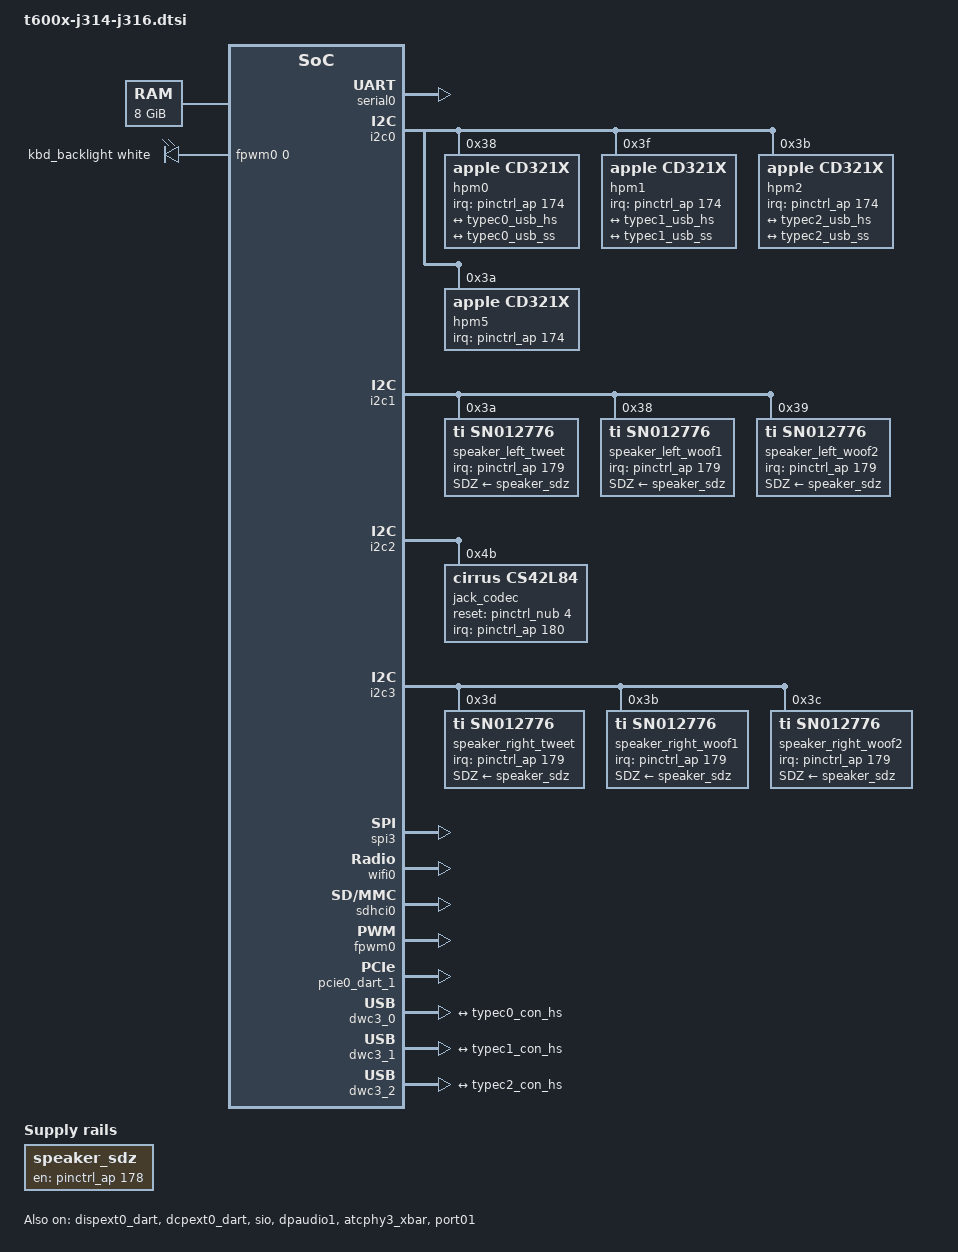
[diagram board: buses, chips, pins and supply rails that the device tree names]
// SPDX-License-Identifier: GPL-2.0+ OR MIT
/*
 * MacBook Pro (14/16-inch, 2021)
 *
 * This file contains the parts common to J314 and J316 devices with both t6000 and t6001.
 *
 * target-type: J314s / J314c / J316s / J316c
 *
 * Copyright The Asahi Linux Contributors
 */

#include <dt-bindings/leds/common.h>

/ {
	aliases {
		atcphy0 = &atcphy0;
		atcphy1 = &atcphy1;
		atcphy2 = &atcphy2;
		atcphy3 = &atcphy3;
		bluetooth0 = &bluetooth0;
		dcp = &dcp;
		dcpext0 = &dcpext0;
		disp0 = &display;
		disp0_piodma = &disp0_piodma;
		nvram = &nvram;
		serial0 = &serial0;
		sio = &sio;
		wifi0 = &wifi0;
	};

	chosen {
		#address-cells = <2>;
		#size-cells = <2>;
		ranges;

		stdout-path = "serial0";

		framebuffer0: framebuffer@0 {
			compatible = "apple,simple-framebuffer", "simple-framebuffer";
			reg = <0 0 0 0>; /* To be filled by loader */
			/* Format properties will be added by loader */
			status = "disabled";
			power-domains = <&ps_disp0_cpu0>;
			panel = &panel;
		};
	};

	reserved-memory {
		#address-cells = <2>;
		#size-cells = <2>;
		ranges;
		/* To be filled by loader */
	};

	memory@10000000000 {
		device_type = "memory";
		reg = <0x100 0 0x2 0>; /* To be filled by loader */
	};

	led-controller {
		compatible = "pwm-leds";
		led-0 {
			pwms = <&fpwm0 0 40000>;
			label = "kbd_backlight";
			function = LED_FUNCTION_KBD_BACKLIGHT;
			color = <LED_COLOR_ID_WHITE>;
			max-brightness = <255>;
			default-state = "keep";
		};
	};
};

&serial0 {
	status = "okay";
};

&dcp {
	panel: panel {
		apple,max-brightness = <500>;
	};
};

&display {
	iommus = <&disp0_dart 0>, <&dispext0_dart 0>;
};

&dispext0_dart {
	status = "okay";
};

&dcpext0_dart {
	status = "okay";
};

&dcpext0_mbox {
	status = "okay";
};

&dcpext0 {
	/* enabled by the loader */
	apple,connector-type = "HDMI-A";

	/*  HDMI HPD gpio, used as interrupt*/
	hdmi-hpd-gpios = <&pinctrl_nub 15 GPIO_ACTIVE_HIGH>;

	hdmi-pwren-gpios = <&smc_gpio 23 GPIO_ACTIVE_HIGH>;
	dp2hdmi-pwren-gpios = <&smc_gpio 6 GPIO_ACTIVE_HIGH>;

	phy-names = "dp-phy";
	phys = <&atcphy3 PHY_TYPE_DP>;
	phy-names = "dp-phy";
	mux-controls = <&atcphy3_xbar 0>;
	mux-control-names = "dp-xbar";
	mux-index = <0>;
	apple,dptx-phy = <3>;
};

/* remove once m1n1 enables sio nodes after setup */
&sio {
        status = "okay";
};

&dpaudio1 {
	status = "okay";
};

&atcphy3 {
	apple,mode-fixed-dp;
};

&atcphy3_xbar {
	status = "okay";
};

/* USB Type C */
&i2c0 {
	hpm0: usb-pd@38 {
		compatible = "apple,cd321x";
		reg = <0x38>;
		interrupt-parent = <&pinctrl_ap>;
		interrupts = <174 IRQ_TYPE_LEVEL_LOW>;
		interrupt-names = "irq";

		typec0: connector {
			compatible = "usb-c-connector";
			label = "USB-C Left Rear";
			power-role = "dual";
			data-role = "dual";

			ports {
				#address-cells = <1>;
				#size-cells = <0>;
				port@0 {
					reg = <0>;
					typec0_con_hs: endpoint {
						remote-endpoint = <&typec0_usb_hs>;
					};
				};
				port@1 {
					reg = <1>;
					typec0_con_ss: endpoint {
						remote-endpoint = <&typec0_usb_ss>;
					};
				};
			};
		};
	};

	hpm1: usb-pd@3f {
		compatible = "apple,cd321x";
		reg = <0x3f>;
		interrupt-parent = <&pinctrl_ap>;
		interrupts = <174 IRQ_TYPE_LEVEL_LOW>;
		interrupt-names = "irq";

		typec1: connector {
			compatible = "usb-c-connector";
			label = "USB-C Left Front";
			power-role = "dual";
			data-role = "dual";

			ports {
				#address-cells = <1>;
				#size-cells = <0>;
				port@0 {
					reg = <0>;
					typec1_con_hs: endpoint {
						remote-endpoint = <&typec1_usb_hs>;
					};
				};
				port@1 {
					reg = <1>;
					typec1_con_ss: endpoint {
						remote-endpoint = <&typec1_usb_ss>;
					};
				};
			};
		};
	};

	hpm2: usb-pd@3b {
		compatible = "apple,cd321x";
		reg = <0x3b>;
		interrupt-parent = <&pinctrl_ap>;
		interrupts = <174 IRQ_TYPE_LEVEL_LOW>;
		interrupt-names = "irq";

		typec2: connector {
			compatible = "usb-c-connector";
			label = "USB-C Right";
			power-role = "dual";
			data-role = "dual";

			ports {
				#address-cells = <1>;
				#size-cells = <0>;
				port@0 {
					reg = <0>;
					typec2_con_hs: endpoint {
						remote-endpoint = <&typec2_usb_hs>;
					};
				};
				port@1 {
					reg = <1>;
					typec2_con_ss: endpoint {
						remote-endpoint = <&typec2_usb_ss>;
					};
				};
			};
		};
	};

	/* MagSafe port */
	hpm5: usb-pd@3a {
		compatible = "apple,cd321x";
		reg = <0x3a>;
		interrupt-parent = <&pinctrl_ap>;
		interrupts = <174 IRQ_TYPE_LEVEL_LOW>;
		interrupt-names = "irq";
	};
};

/* Virtual regulator representing the shared shutdown GPIO */
/ {
	speaker_sdz: fixed-regulator-sn012776-sdz {
		compatible = "regulator-fixed";
		regulator-name = "sn012776-sdz";
		startup-delay-us = <5000>;
		gpios = <&pinctrl_ap 178 GPIO_ACTIVE_HIGH>;
		enable-active-high;
	};
};

&i2c1 {
	status = "okay";

	speaker_left_tweet: codec@3a {
		compatible = "ti,sn012776", "ti,tas2764";
		reg = <0x3a>;
		SDZ-supply = <&speaker_sdz>;
		#sound-dai-cells = <0>;
		sound-name-prefix = "Left Tweeter";
		interrupts-extended = <&pinctrl_ap 179 IRQ_TYPE_LEVEL_LOW>;
		ti,imon-slot-no = <8>;
		ti,vmon-slot-no = <10>;
	};

	speaker_left_woof1: codec@38 {
		compatible = "ti,sn012776", "ti,tas2764";
		reg = <0x38>;
		SDZ-supply = <&speaker_sdz>;
		#sound-dai-cells = <0>;
		sound-name-prefix = "Left Woofer 1";
		interrupts-extended = <&pinctrl_ap 179 IRQ_TYPE_LEVEL_LOW>;
		ti,imon-slot-no = <0>;
		ti,vmon-slot-no = <2>;
		ti,sdout-force-zero-mask = <0xf0f0f0>;
	};

	speaker_left_woof2: codec@39 {
		compatible = "ti,sn012776", "ti,tas2764";
		reg = <0x39>;
		SDZ-supply = <&speaker_sdz>;
		#sound-dai-cells = <0>;
		sound-name-prefix = "Left Woofer 2";
		interrupts-extended = <&pinctrl_ap 179 IRQ_TYPE_LEVEL_LOW>;
		ti,imon-slot-no = <16>;
		ti,vmon-slot-no = <18>;
	};
};

&i2c2 {
	status = "okay";

	jack_codec: codec@4b {
		compatible = "cirrus,cs42l84";
		reg = <0x4b>;
		reset-gpios = <&pinctrl_nub 4 GPIO_ACTIVE_HIGH>;
		#sound-dai-cells = <0>;
		interrupts-extended = <&pinctrl_ap 180 IRQ_TYPE_LEVEL_LOW>;
		sound-name-prefix = "Jack";
	};
};

&i2c3 {
	status = "okay";

	speaker_right_tweet: codec@3d {
		compatible = "ti,sn012776", "ti,tas2764";
		reg = <0x3d>;
		SDZ-supply = <&speaker_sdz>;
		#sound-dai-cells = <0>;
		sound-name-prefix = "Right Tweeter";
		interrupts-extended = <&pinctrl_ap 179 IRQ_TYPE_LEVEL_LOW>;
		ti,imon-slot-no = <12>;
		ti,vmon-slot-no = <14>;
	};

	speaker_right_woof1: codec@3b {
		compatible = "ti,sn012776", "ti,tas2764";
		reg = <0x3b>;
		SDZ-supply = <&speaker_sdz>;
		#sound-dai-cells = <0>;
		sound-name-prefix = "Right Woofer 1";
		interrupts-extended = <&pinctrl_ap 179 IRQ_TYPE_LEVEL_LOW>;
		ti,imon-slot-no = <4>;
		ti,vmon-slot-no = <6>;
		ti,sdout-force-zero-mask = <0x0f0f0f>;
	};

	speaker_right_woof2: codec@3c {
		compatible = "ti,sn012776", "ti,tas2764";
		reg = <0x3c>;
		SDZ-supply = <&speaker_sdz>;
		#sound-dai-cells = <0>;
		sound-name-prefix = "Right Woofer 2";
		interrupts-extended = <&pinctrl_ap 179 IRQ_TYPE_LEVEL_LOW>;
		ti,imon-slot-no = <20>;
		ti,vmon-slot-no = <22>;
	};
};

&nco_clkref {
	clock-frequency = <1068000000>;
};

#ifndef NO_SPI_TRACKPAD
&spi3 {
	status = "okay";

	hid-transport@0 {
		compatible = "apple,spi-hid-transport";
		reg = <0>;
		spi-max-frequency = <8000000>;
		/*
		 * Apple's ADT specifies 20us CS change delays, and the
		 * SPI HID interface metadata specifies 45us. Using either
		 * seems not to be reliable, but adding both works, so
		 * best guess is they are cumulative.
		*/
		spi-cs-setup-delay-ns = <65000>;
		spi-cs-hold-delay-ns = <65000>;
		spi-cs-inactive-delay-ns = <250000>;
		spien-gpios = <&pinctrl_ap 194 0>;
		interrupts-extended = <&pinctrl_nub 6 IRQ_TYPE_LEVEL_LOW>;
	};
};
#endif

/* PCIe devices */
&port00 {
	/* WLAN */
	bus-range = <1 1>;
	pwren-gpios = <&smc_gpio 13 GPIO_ACTIVE_HIGH>;
	wifi0: wifi@0,0 {
		compatible = "pci14e4,4433";
		reg = <0x10000 0x0 0x0 0x0 0x0>;
		/* To be filled by the loader */
		local-mac-address = [00 10 18 00 00 10];
		apple,antenna-sku = "XX";
	};

	bluetooth0: network@0,1 {
		compatible = "pci14e4,5f71";
		reg = <0x10100 0x0 0x0 0x0 0x0>;
		/* To be filled by the loader */
		local-bd-address = [00 00 00 00 00 00];
	};
};

&port01 {
	/* SD card reader */
	bus-range = <2 2>;
	pwren-gpios = <&smc_gpio 26 GPIO_ACTIVE_HIGH>;
	status = "okay";
	sdhci0: mmc@0,0 {
		compatible = "pci17a0,9755";
		reg = <0x20000 0x0 0x0 0x0 0x0>;
		cd-inverted;
		wp-inverted;
	};
};

&fpwm0 {
	status = "okay";
};

&pcie0_dart_1 {
	status = "okay";
};

/* USB controllers */
&dwc3_0 {
	port {
		typec0_usb_hs: endpoint {
			remote-endpoint = <&typec0_con_hs>;
		};
	};
};

&dwc3_1 {
	port {
		typec1_usb_hs: endpoint {
			remote-endpoint = <&typec1_con_hs>;
		};
	};
};

&dwc3_2 {
	port {
		typec2_usb_hs: endpoint {
			remote-endpoint = <&typec2_con_hs>;
		};
	};
};

/* Type-C PHYs */
&atcphy0 {
	port {
		typec0_usb_ss: endpoint {
			remote-endpoint = <&typec0_con_ss>;
		};
	};
};

&atcphy1 {
	port {
		typec1_usb_ss: endpoint {
			remote-endpoint = <&typec1_con_ss>;
		};
	};
};

&atcphy2 {
	port {
		typec2_usb_ss: endpoint {
			remote-endpoint = <&typec2_con_ss>;
		};
	};
};

/* ATC3 is used for DisplayPort -> HDMI only */
&dwc3_3_dart_0 {
	status = "disabled";
};

&dwc3_3_dart_1 {
	status = "disabled";
};

&dwc3_3 {
	status = "disabled";
};
/* Delete unused dwc3_3 to prevent dt_disable_missing_devs() from disabling
 * atcphy3 via phandle references from a disablecd device.
 */
/delete-node/ &dwc3_3;

&ps_atc3_usb_aon {
	/delete-property/ apple,always-on;
};

/ {
	sound: sound {
		/* compatible is set per machine */

		dai-link@0 {
			link-name = "Speakers";

			cpu {
				sound-dai = <&mca 0>, <&mca 1>;
			};
			codec {
				sound-dai = <&speaker_left_woof1>,
					    <&speaker_left_tweet>,
					    <&speaker_left_woof2>,
					    <&speaker_right_woof1>,
					    <&speaker_right_tweet>,
					    <&speaker_right_woof2>;
			};
		};

		dai-link@1 {
			link-name = "Headphone Jack";

			cpu {
				sound-dai = <&mca 2>;
			};
			codec {
				sound-dai = <&jack_codec>;
			};
		};
	};
};

#include "spi1-nvram.dtsi"

#include "isp-imx558.dtsi"

&isp {
	apple,platform-id = <3>;
};

#include "hwmon-common.dtsi"
#include "hwmon-fan-dual.dtsi"
#include "hwmon-laptop.dtsi"
